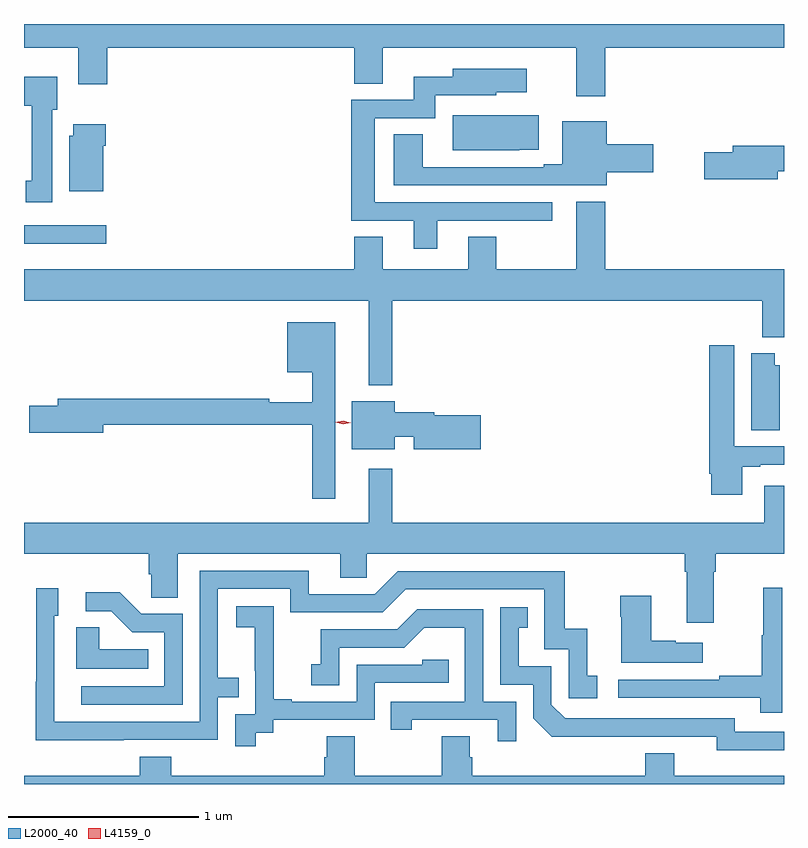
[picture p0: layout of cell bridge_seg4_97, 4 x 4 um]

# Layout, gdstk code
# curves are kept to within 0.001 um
import gdstk
lib = gdstk.Library(unit=1e-6, precision=1e-09)
def R(c, l, rs):  # rectangles x0, y0, x1, y1
    for r in rs: c.add(gdstk.rectangle(r[:2], r[2:], *l))
def P(c, l, *ps):  # polygons
    for p in ps: c.add(gdstk.Polygon(p, *l))
L2000_40 = (2000, 40)
L4159_0 = (4159, 0)

bridge_seg4_97 = lib.new_cell('bridge_seg4_97')
R(bridge_seg4_97, L2000_40, [(393.302,767.816,393.736,767.913)])
P(bridge_seg4_97, L2000_40, [(396.362,768.848),(397.302,768.848),(397.302,768.972),(393.302,768.972),(393.302,768.848),(393.587,768.848),(393.587,768.654),(393.74,768.654),(393.74,768.848),(395.039,768.848),(395.039,768.658),(395.191,768.658),(395.191,768.848),(396.209,768.848),(396.209,768.591),(396.362,768.591)],
  [(395.476,767.937),(396.082,767.937),(396.082,768.033),(395.149,768.033),(395.149,768.477),(395.467,768.477),(395.467,768.597),(395.787,768.597),(395.787,768.614),(395.947,768.614),(395.947,768.736),(395.558,768.736),(395.558,768.694),(395.354,768.694),(395.354,768.573),(395.024,768.573),(395.024,767.937),(395.354,767.937),(395.354,767.79),(395.476,767.79)],
  [(393.451,768.522),(393.478,768.522),(393.478,768.694),(393.302,768.694),(393.302,768.542),(393.344,768.542),(393.344,768.146),(393.311,768.146),(393.311,768.033),(393.451,768.033)],
  [(395.909,768.309),(396.012,768.309),(396.012,768.493),(395.558,768.493),(395.558,768.308),(395.909,768.308)],
  [(396.37,768.191),(396.613,768.191),(396.613,768.338),(396.37,768.338),(396.37,768.46),(396.134,768.46),(396.134,768.233),(396.038,768.233),(396.038,768.219),(395.401,768.219),(395.401,768.391),(395.249,768.391),(395.249,768.123),(396.37,768.123)],
  [(393.718,768.332),(393.731,768.332),(393.731,768.445),(393.56,768.445),(393.56,768.384),(393.539,768.384),(393.539,768.092),(393.718,768.092)],
  [(397.27,768.196),(397.302,768.196),(397.302,768.332),(397.031,768.332),(397.031,768.296),(396.882,768.296),(396.882,768.154),(397.27,768.154)],
  [(395.239,767.516),(397.187,767.516),(397.187,767.324),(397.302,767.324),(397.302,767.68),(396.362,767.68),(396.362,768.037),(396.209,768.037),(396.209,767.68),(395.787,767.68),(395.787,767.852),(395.639,767.852),(395.639,767.68),(395.191,767.68),(395.191,767.852),(395.039,767.852),(395.039,767.68),(393.302,767.68),(393.302,767.516),(395.117,767.516),(395.117,767.072),(395.239,767.072)],
  [(394.939,767.401),(394.688,767.401),(394.688,767.138),(394.818,767.138),(394.818,766.981),(394.592,766.981),(394.592,767),(393.479,767),(393.479,766.964),(393.33,766.964),(393.33,766.822),(393.718,766.822),(393.718,766.864),(394.818,766.864),(394.818,766.473),(394.939,766.473)],
  [(397.081,766.641),(397.177,766.641),(397.177,766.653),(397.302,766.653),(397.302,766.749),(397.039,766.749),(397.039,767.281),(396.908,767.281),(396.908,766.606),(396.92,766.606),(396.92,766.494),(397.081,766.494)],
  [(397.279,767.175),(397.252,767.175),(397.252,767.239),(397.13,767.239),(397.13,766.834),(397.279,766.834)],
  [(395.254,766.8),(395.354,766.8),(395.354,766.735),(395.707,766.735),(395.707,766.913),(395.46,766.913),(395.46,766.928),(395.254,766.928),(395.254,766.987),(395.027,766.987),(395.027,766.733),(395.254,766.733)],
  [(396.931,766.088),(396.944,766.088),(396.944,766.184),(397.302,766.184),(397.302,766.543),(397.199,766.543),(397.199,766.348),(395.239,766.348),(395.239,766.63),(395.117,766.63),(395.117,766.348),(393.302,766.348),(393.302,766.184),(393.959,766.184),(393.959,766.075),(393.972,766.075),(393.972,765.952),(394.111,765.952),(394.111,766.184),(394.967,766.184),(394.967,766.057),(395.106,766.057),(395.106,766.184),(396.779,766.184),(396.779,766.088),(396.791,766.088),(396.791,765.822),(396.931,765.822)],
  [(393.827,765.204),(394.323,765.204),(394.323,765.429),(394.433,765.429),(394.433,765.53),(394.323,765.53),(394.323,765.999),(394.704,765.999),(394.704,765.876),(395.19,765.876),(395.31,765.996),(396.039,765.996),(396.039,765.681),(396.168,765.681),(396.168,765.423),(396.319,765.423),(396.319,765.543),(396.266,765.543),(396.266,765.79),(396.148,765.79),(396.148,766.092),(395.268,766.092),(395.148,765.972),(394.801,765.972),(394.801,766.095),(394.227,766.095),(394.227,765.3),(393.462,765.3),(393.462,765.858),(393.481,765.858),(393.481,766.003),(393.366,766.003),(393.366,765.509),(393.364,765.509),(393.364,765.203)],
  [(397.294,766.006),(397.192,766.006),(397.192,765.756),(397.185,765.756),(397.185,765.542),(396.961,765.542),(396.961,765.522),(396.429,765.522),(396.429,765.426),(397.177,765.426),(397.177,765.348),(397.294,765.348)],
  [(394.137,765.867),(393.918,765.867),(393.805,765.98),(393.627,765.98),(393.627,765.882),(393.761,765.882),(393.872,765.771),(394.041,765.771),(394.041,765.486),(393.603,765.486),(393.603,765.39),(394.137,765.39)],
  [(396.874,765.715),(396.731,765.715),(396.731,765.725),(396.604,765.725),(396.604,765.964),(396.439,765.964),(396.439,765.851),(396.446,765.851),(396.446,765.611),(396.874,765.611)],
  [(394.522,765.241),(394.614,765.241),(394.614,765.309),(395.148,765.309),(395.148,765.504),(395.537,765.504),(395.537,765.627),(395.397,765.627),(395.397,765.6),(395.052,765.6),(395.052,765.405),(394.711,765.405),(394.711,765.418),(394.616,765.418),(394.616,765.701),(394.617,765.701),(394.617,765.907),(394.419,765.907),(394.419,765.797),(394.517,765.797),(394.517,765.569),(394.518,765.569),(394.518,765.339),(394.413,765.339),(394.413,765.171),(394.522,765.171)],
  [(397.302,765.246),(397.044,765.246),(397.044,765.318),(396.15,765.318),(396.078,765.39),(396.078,765.591),(395.905,765.591),(395.905,765.795),(395.954,765.795),(395.954,765.901),(395.808,765.901),(395.808,765.495),(395.982,765.495),(395.982,765.318),(396.08,765.221),(396.948,765.222),(396.948,765.149),(397.302,765.149)],
  [(395.892,765.405),(395.718,765.405),(395.718,765.891),(395.372,765.891),(395.267,765.786),(394.864,765.786),(394.864,765.601),(394.815,765.601),(394.815,765.492),(394.962,765.492),(394.962,765.69),(395.304,765.69),(395.408,765.794),(395.622,765.794),(395.622,765.405),(395.233,765.405),(395.233,765.258),(395.344,765.258),(395.344,765.309),(395.795,765.309),(395.795,765.198),(395.892,765.198)],
  [(393.956,765.682),(393.699,765.682),(393.699,765.797),(393.578,765.797),(393.578,765.578),(393.956,765.578)],
  [(397.302,765.016),(396.724,765.016),(396.724,765.133),(396.572,765.133),(396.572,765.016),(395.66,765.016),(395.66,765.114),(395.647,765.114),(395.647,765.224),(395.5,765.224),(395.5,765.016),(395.043,765.016),(395.043,765.224),(394.895,765.224),(394.895,765.114),(394.883,765.114),(394.883,765.016),(394.076,765.016),(394.076,765.115),(393.911,765.115),(393.911,765.016),(393.302,765.016),(393.302,764.972),(397.302,764.972)])
P(bridge_seg4_97, L4159_0, [(394.981,766.865),(394.941,766.876),(394.941,766.876),(394.941,766.876),(394.982,766.885),(395.021,766.874),(395.021,766.874),(395.021,766.874)])

lib.write_gds('bridge_seg4_97.gds')
